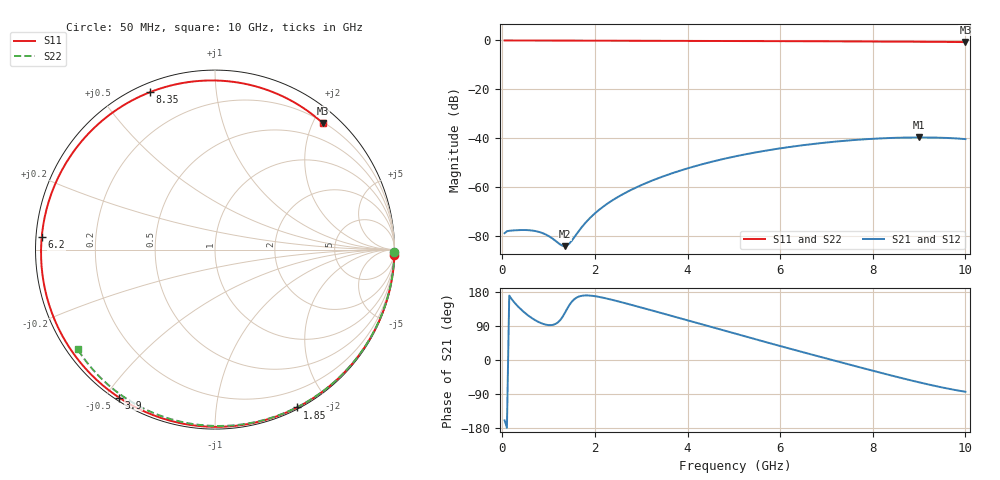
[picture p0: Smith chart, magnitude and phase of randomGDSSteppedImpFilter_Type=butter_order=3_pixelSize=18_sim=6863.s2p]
! freq	dB(S11)	phase(S11)	dB(S12)	phase(S12)
!  dB(S21)	phase(S21)	dB(S22)	phase(S22)
!S-par simulation data
#  GHz  S  DB  R 50
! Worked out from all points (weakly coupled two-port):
!   200 points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, 50 MHz to 10 GHz, reference 50 ohm
!   highest |S21| = -39.62 dB at 9 GHz (marker M1); lowest = -84.0 dB at 1.35 GHz (marker M2)
!   lowest |S11| = -0.7 dB at 10 GHz (marker M3), VSWR 25.91, Z = 10.9 + j107 ohm
!   |S11| at or under -10 dB: nowhere
!   |S22| runs from -0.5 to 0.0 dB; largest |S21 - S12| = 0
!   S11 on the Smith chart (normalised r, x): 50 MHz: 0, -65; 1.85 GHz: 0.02, -1.65; 3.9 GHz: 0.01, -0.54; 6.2 GHz: 0.02, +0.04; 8.35 GHz: 0.04, +0.67; 10 GHz: 0.22, +2.15
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0.05  -0.00 -1.8  -78.72 -159.3  -78.72 -159.3  -0.00 -0.8
0.15  -0.00 -5.3  -77.75 169.9  -77.75 169.9  -0.00 -2.5
0.55  -0.02 -19.2  -77.48 118.3  -77.48 118.3  -0.01 -9.2
1  -0.04 -34.6  -79.89 92.1  -79.89 92.1  -0.02 -16.6
1.35  -0.06 -46.3  -84.03 123.9  -84.03 123.9  -0.03 -22.3
1.55  -0.07 -52.8  -80.50 160.0  -80.50 160.0  -0.03 -25.6
1.75  -0.07 -59.3  -75.48 170.0  -75.48 170.0  -0.04 -28.8
1.85  -0.08 -62.5  -73.36 170.4  -73.36 170.4  -0.04 -30.4
2.15  -0.09 -72.0  -68.30 165.1  -68.30 165.1  -0.05 -35.2
2.5  -0.10 -82.7  -63.90 154.8  -63.90 154.8  -0.05 -40.8
3.4  -0.13 -109.0  -56.04 125.1  -56.04 125.1  -0.07 -54.7
3.9  -0.15 -122.9  -52.83 108.2  -52.83 108.2  -0.09 -62.3
4.5  -0.18 -139.1  -49.66 87.7  -49.66 87.7  -0.10 -71.1
5.05  -0.21 -153.6  -47.27 68.9  -47.27 68.9  -0.12 -79.0
5.65  -0.25 -169.4  -45.13 48.6  -45.13 48.6  -0.15 -87.4
6.2  -0.28 175.9  -43.52 30.2  -43.52 30.2  -0.17 -95.0
6.7  -0.32 162.2  -42.31 13.8  -42.31 13.8  -0.20 -101.7
7.5  -0.38 139.2  -40.81 -12.2  -40.81 -12.2  -0.25 -112.2
8.35  -0.46 112.4  -39.86 -39.3  -39.86 -39.3  -0.32 -123.1
9  -0.52 89.7  -39.62 -58.9  -39.62 -58.9  -0.38 -131.3
9.5  -0.58 70.5  -39.76 -72.5  -39.76 -72.5  -0.43 -137.6
10  -0.67 49.6  -40.30 -83.9  -40.30 -83.9  -0.49 -144.0
